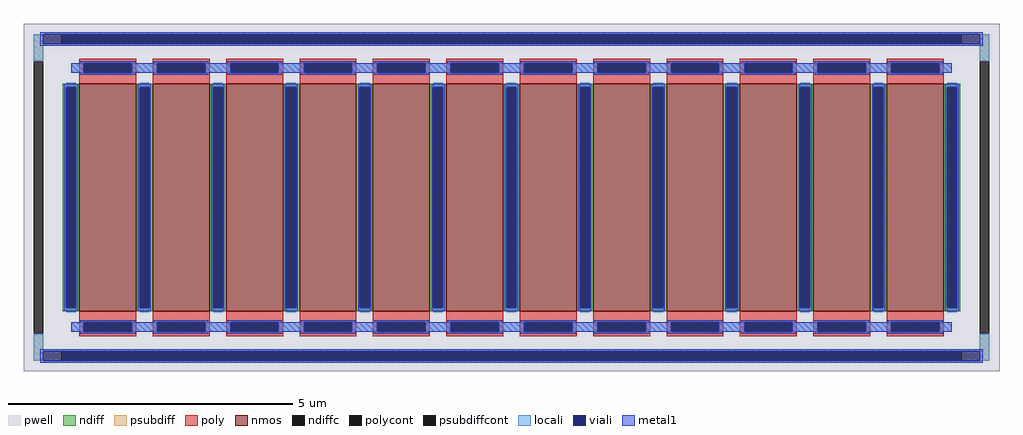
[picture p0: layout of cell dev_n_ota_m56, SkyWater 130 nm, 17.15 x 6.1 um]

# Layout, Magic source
magic
tech sky130A
magscale 1 2
<< pwell >>
rect -1715 -610 1715 610
<< nmos >>
rect -1519 -400 -1319 400
rect -1261 -400 -1061 400
rect -1003 -400 -803 400
rect -745 -400 -545 400
rect -487 -400 -287 400
rect -229 -400 -29 400
rect 29 -400 229 400
rect 287 -400 487 400
rect 545 -400 745 400
rect 803 -400 1003 400
rect 1061 -400 1261 400
rect 1319 -400 1519 400
<< ndiff >>
rect -1577 388 -1519 400
rect -1577 -388 -1565 388
rect -1531 -388 -1519 388
rect -1577 -400 -1519 -388
rect -1319 388 -1261 400
rect -1319 -388 -1307 388
rect -1273 -388 -1261 388
rect -1319 -400 -1261 -388
rect -1061 388 -1003 400
rect -1061 -388 -1049 388
rect -1015 -388 -1003 388
rect -1061 -400 -1003 -388
rect -803 388 -745 400
rect -803 -388 -791 388
rect -757 -388 -745 388
rect -803 -400 -745 -388
rect -545 388 -487 400
rect -545 -388 -533 388
rect -499 -388 -487 388
rect -545 -400 -487 -388
rect -287 388 -229 400
rect -287 -388 -275 388
rect -241 -388 -229 388
rect -287 -400 -229 -388
rect -29 388 29 400
rect -29 -388 -17 388
rect 17 -388 29 388
rect -29 -400 29 -388
rect 229 388 287 400
rect 229 -388 241 388
rect 275 -388 287 388
rect 229 -400 287 -388
rect 487 388 545 400
rect 487 -388 499 388
rect 533 -388 545 388
rect 487 -400 545 -388
rect 745 388 803 400
rect 745 -388 757 388
rect 791 -388 803 388
rect 745 -400 803 -388
rect 1003 388 1061 400
rect 1003 -388 1015 388
rect 1049 -388 1061 388
rect 1003 -400 1061 -388
rect 1261 388 1319 400
rect 1261 -388 1273 388
rect 1307 -388 1319 388
rect 1261 -400 1319 -388
rect 1519 388 1577 400
rect 1519 -388 1531 388
rect 1565 -388 1577 388
rect 1519 -400 1577 -388
<< ndiffc >>
rect -1565 -388 -1531 388
rect -1307 -388 -1273 388
rect -1049 -388 -1015 388
rect -791 -388 -757 388
rect -533 -388 -499 388
rect -275 -388 -241 388
rect -17 -388 17 388
rect 241 -388 275 388
rect 499 -388 533 388
rect 757 -388 791 388
rect 1015 -388 1049 388
rect 1273 -388 1307 388
rect 1531 -388 1565 388
<< psubdiff >>
rect -1679 540 -1583 574
rect 1583 540 1679 574
rect -1679 478 -1645 540
rect 1645 478 1679 540
rect -1679 -540 -1645 -478
rect 1645 -540 1679 -478
rect -1679 -574 -1583 -540
rect 1583 -574 1679 -540
<< psubdiffcont >>
rect -1583 540 1583 574
rect -1679 -478 -1645 478
rect 1645 -478 1679 478
rect -1583 -574 1583 -540
<< poly >>
rect -1519 472 -1319 488
rect -1519 438 -1503 472
rect -1335 438 -1319 472
rect -1519 400 -1319 438
rect -1261 472 -1061 488
rect -1261 438 -1245 472
rect -1077 438 -1061 472
rect -1261 400 -1061 438
rect -1003 472 -803 488
rect -1003 438 -987 472
rect -819 438 -803 472
rect -1003 400 -803 438
rect -745 472 -545 488
rect -745 438 -729 472
rect -561 438 -545 472
rect -745 400 -545 438
rect -487 472 -287 488
rect -487 438 -471 472
rect -303 438 -287 472
rect -487 400 -287 438
rect -229 472 -29 488
rect -229 438 -213 472
rect -45 438 -29 472
rect -229 400 -29 438
rect 29 472 229 488
rect 29 438 45 472
rect 213 438 229 472
rect 29 400 229 438
rect 287 472 487 488
rect 287 438 303 472
rect 471 438 487 472
rect 287 400 487 438
rect 545 472 745 488
rect 545 438 561 472
rect 729 438 745 472
rect 545 400 745 438
rect 803 472 1003 488
rect 803 438 819 472
rect 987 438 1003 472
rect 803 400 1003 438
rect 1061 472 1261 488
rect 1061 438 1077 472
rect 1245 438 1261 472
rect 1061 400 1261 438
rect 1319 472 1519 488
rect 1319 438 1335 472
rect 1503 438 1519 472
rect 1319 400 1519 438
rect -1519 -438 -1319 -400
rect -1519 -472 -1503 -438
rect -1335 -472 -1319 -438
rect -1519 -488 -1319 -472
rect -1261 -438 -1061 -400
rect -1261 -472 -1245 -438
rect -1077 -472 -1061 -438
rect -1261 -488 -1061 -472
rect -1003 -438 -803 -400
rect -1003 -472 -987 -438
rect -819 -472 -803 -438
rect -1003 -488 -803 -472
rect -745 -438 -545 -400
rect -745 -472 -729 -438
rect -561 -472 -545 -438
rect -745 -488 -545 -472
rect -487 -438 -287 -400
rect -487 -472 -471 -438
rect -303 -472 -287 -438
rect -487 -488 -287 -472
rect -229 -438 -29 -400
rect -229 -472 -213 -438
rect -45 -472 -29 -438
rect -229 -488 -29 -472
rect 29 -438 229 -400
rect 29 -472 45 -438
rect 213 -472 229 -438
rect 29 -488 229 -472
rect 287 -438 487 -400
rect 287 -472 303 -438
rect 471 -472 487 -438
rect 287 -488 487 -472
rect 545 -438 745 -400
rect 545 -472 561 -438
rect 729 -472 745 -438
rect 545 -488 745 -472
rect 803 -438 1003 -400
rect 803 -472 819 -438
rect 987 -472 1003 -438
rect 803 -488 1003 -472
rect 1061 -438 1261 -400
rect 1061 -472 1077 -438
rect 1245 -472 1261 -438
rect 1061 -488 1261 -472
rect 1319 -438 1519 -400
rect 1319 -472 1335 -438
rect 1503 -472 1519 -438
rect 1319 -488 1519 -472
<< polycont >>
rect -1503 438 -1335 472
rect -1245 438 -1077 472
rect -987 438 -819 472
rect -729 438 -561 472
rect -471 438 -303 472
rect -213 438 -45 472
rect 45 438 213 472
rect 303 438 471 472
rect 561 438 729 472
rect 819 438 987 472
rect 1077 438 1245 472
rect 1335 438 1503 472
rect -1503 -472 -1335 -438
rect -1245 -472 -1077 -438
rect -987 -472 -819 -438
rect -729 -472 -561 -438
rect -471 -472 -303 -438
rect -213 -472 -45 -438
rect 45 -472 213 -438
rect 303 -472 471 -438
rect 561 -472 729 -438
rect 819 -472 987 -438
rect 1077 -472 1245 -438
rect 1335 -472 1503 -438
<< locali >>
rect -1679 478 -1645 574
rect 1645 478 1679 574
rect -1548 438 -1503 472
rect -1335 438 -1245 472
rect -1077 438 -987 472
rect -819 438 -729 472
rect -561 438 -471 472
rect -303 438 -213 472
rect -45 438 45 472
rect 213 438 303 472
rect 471 438 561 472
rect 729 438 819 472
rect 987 438 1077 472
rect 1245 438 1335 472
rect 1503 438 1548 472
rect -1565 388 -1531 404
rect -1565 -404 -1531 -388
rect -1307 388 -1273 404
rect -1307 -404 -1273 -388
rect -1049 388 -1015 404
rect -1049 -404 -1015 -388
rect -791 388 -757 404
rect -791 -404 -757 -388
rect -533 388 -499 404
rect -533 -404 -499 -388
rect -275 388 -241 404
rect -275 -404 -241 -388
rect -17 388 17 404
rect -17 -404 17 -388
rect 241 388 275 404
rect 241 -404 275 -388
rect 499 388 533 404
rect 499 -404 533 -388
rect 757 388 791 404
rect 757 -404 791 -388
rect 1015 388 1049 404
rect 1015 -404 1049 -388
rect 1273 388 1307 404
rect 1273 -404 1307 -388
rect 1531 388 1565 404
rect 1531 -404 1565 -388
rect -1548 -472 -1503 -438
rect -1335 -472 -1245 -438
rect -1077 -472 -987 -438
rect -819 -472 -729 -438
rect -561 -472 -471 -438
rect -303 -472 -213 -438
rect -45 -472 45 -438
rect 213 -472 303 -438
rect 471 -472 561 -438
rect 729 -472 819 -438
rect 987 -472 1077 -438
rect 1245 -472 1335 -438
rect 1503 -472 1548 -438
rect -1679 -574 -1645 -478
rect 1645 -574 1679 -478
<< viali >>
rect -1645 540 -1583 574
rect -1583 540 1583 574
rect 1583 540 1645 574
rect -1503 438 -1335 472
rect -1245 438 -1077 472
rect -987 438 -819 472
rect -729 438 -561 472
rect -471 438 -303 472
rect -213 438 -45 472
rect 45 438 213 472
rect 303 438 471 472
rect 561 438 729 472
rect 819 438 987 472
rect 1077 438 1245 472
rect 1335 438 1503 472
rect -1565 -388 -1531 388
rect -1307 -388 -1273 388
rect -1049 -388 -1015 388
rect -791 -388 -757 388
rect -533 -388 -499 388
rect -275 -388 -241 388
rect -17 -388 17 388
rect 241 -388 275 388
rect 499 -388 533 388
rect 757 -388 791 388
rect 1015 -388 1049 388
rect 1273 -388 1307 388
rect 1531 -388 1565 388
rect -1503 -472 -1335 -438
rect -1245 -472 -1077 -438
rect -987 -472 -819 -438
rect -729 -472 -561 -438
rect -471 -472 -303 -438
rect -213 -472 -45 -438
rect 45 -472 213 -438
rect 303 -472 471 -438
rect 561 -472 729 -438
rect 819 -472 987 -438
rect 1077 -472 1245 -438
rect 1335 -472 1503 -438
rect -1645 -574 -1583 -540
rect -1583 -574 1583 -540
rect 1583 -574 1645 -540
<< metal1 >>
rect -1657 574 1657 580
rect -1657 540 -1645 574
rect 1645 540 1657 574
rect -1657 534 1657 540
rect -1515 472 -1323 478
rect -1257 472 -1065 478
rect -999 472 -807 478
rect -741 472 -549 478
rect -483 472 -291 478
rect -225 472 -33 478
rect 33 472 225 478
rect 291 472 483 478
rect 549 472 741 478
rect 807 472 999 478
rect 1065 472 1257 478
rect 1323 472 1515 478
rect -1548 438 -1503 472
rect -1335 438 -1245 472
rect -1077 438 -987 472
rect -819 438 -729 472
rect -561 438 -471 472
rect -303 438 -213 472
rect -45 438 45 472
rect 213 438 303 472
rect 471 438 561 472
rect 729 438 819 472
rect 987 438 1077 472
rect 1245 438 1335 472
rect 1503 438 1548 472
rect -1515 432 -1323 438
rect -1257 432 -1065 438
rect -999 432 -807 438
rect -741 432 -549 438
rect -483 432 -291 438
rect -225 432 -33 438
rect 33 432 225 438
rect 291 432 483 438
rect 549 432 741 438
rect 807 432 999 438
rect 1065 432 1257 438
rect 1323 432 1515 438
rect -1571 388 -1525 400
rect -1571 -388 -1565 388
rect -1531 -388 -1525 388
rect -1571 -400 -1525 -388
rect -1313 388 -1267 400
rect -1313 -388 -1307 388
rect -1273 -388 -1267 388
rect -1313 -400 -1267 -388
rect -1055 388 -1009 400
rect -1055 -388 -1049 388
rect -1015 -388 -1009 388
rect -1055 -400 -1009 -388
rect -797 388 -751 400
rect -797 -388 -791 388
rect -757 -388 -751 388
rect -797 -400 -751 -388
rect -539 388 -493 400
rect -539 -388 -533 388
rect -499 -388 -493 388
rect -539 -400 -493 -388
rect -281 388 -235 400
rect -281 -388 -275 388
rect -241 -388 -235 388
rect -281 -400 -235 -388
rect -23 388 23 400
rect -23 -388 -17 388
rect 17 -388 23 388
rect -23 -400 23 -388
rect 235 388 281 400
rect 235 -388 241 388
rect 275 -388 281 388
rect 235 -400 281 -388
rect 493 388 539 400
rect 493 -388 499 388
rect 533 -388 539 388
rect 493 -400 539 -388
rect 751 388 797 400
rect 751 -388 757 388
rect 791 -388 797 388
rect 751 -400 797 -388
rect 1009 388 1055 400
rect 1009 -388 1015 388
rect 1049 -388 1055 388
rect 1009 -400 1055 -388
rect 1267 388 1313 400
rect 1267 -388 1273 388
rect 1307 -388 1313 388
rect 1267 -400 1313 -388
rect 1525 388 1571 400
rect 1525 -388 1531 388
rect 1565 -388 1571 388
rect 1525 -400 1571 -388
rect -1515 -438 -1323 -432
rect -1257 -438 -1065 -432
rect -999 -438 -807 -432
rect -741 -438 -549 -432
rect -483 -438 -291 -432
rect -225 -438 -33 -432
rect 33 -438 225 -432
rect 291 -438 483 -432
rect 549 -438 741 -432
rect 807 -438 999 -432
rect 1065 -438 1257 -432
rect 1323 -438 1515 -432
rect -1548 -472 -1503 -438
rect -1335 -472 -1245 -438
rect -1077 -472 -987 -438
rect -819 -472 -729 -438
rect -561 -472 -471 -438
rect -303 -472 -213 -438
rect -45 -472 45 -438
rect 213 -472 303 -438
rect 471 -472 561 -438
rect 729 -472 819 -438
rect 987 -472 1077 -438
rect 1245 -472 1335 -438
rect 1503 -472 1548 -438
rect -1515 -478 -1323 -472
rect -1257 -478 -1065 -472
rect -999 -478 -807 -472
rect -741 -478 -549 -472
rect -483 -478 -291 -472
rect -225 -478 -33 -472
rect 33 -478 225 -472
rect 291 -478 483 -472
rect 549 -478 741 -472
rect 807 -478 999 -472
rect 1065 -478 1257 -472
rect 1323 -478 1515 -472
rect -1657 -540 1657 -534
rect -1657 -574 -1645 -540
rect 1645 -574 1657 -540
rect -1657 -580 1657 -574
<< properties >>
string FIXED_BBOX -1662 -557 1662 557
<< end >>
